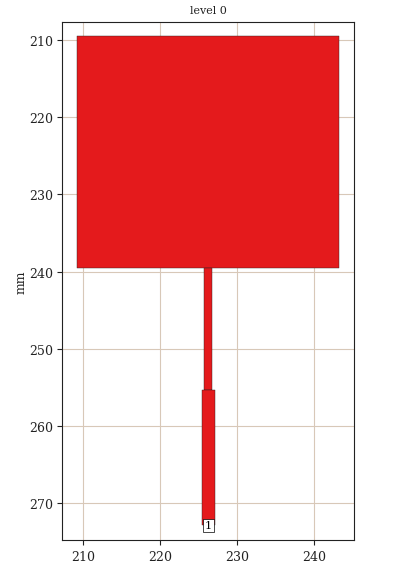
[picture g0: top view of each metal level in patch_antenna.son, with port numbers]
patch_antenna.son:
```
FTYP SONPROJ 12 ! Sonnet Project File
VER 14.53.lite
HEADER
DAT 02/19/2015 18:59:54
BUILT_BY_CREATED xgeom 14.53-Lite 02/14/2015 08:48:22
BUILT_BY_SAVED xgeom 14.53-Lite
MDATE 02/18/2015 04:10:13
HDATE 02/18/2015 04:10:13
END HEADER
DIM
FREQ GHZ
IND NH
LNG MM
ANG DEG
CON /OH
CAP PF
RES OH
END DIM
FREQ
SIMPLE 2.35 2.5 0.01
ABS 2.35 2.55 
END FREQ
CONTROL
ABS
OPTIONS  -dj 
SPEED 0
CACHE_ABS 1
TARG_ABS 300
Q_ACC N
END CONTROL
GEO
TMET "Free Space" 0 FREESPACE 376.7303136 0 0 0
BMET "Lossless" 0 SUP 0 0 0 0
MET "Copper" 1 NOR 58000000 0 0.035 
BOX 1 450 450 7200 7200 20 0
      62 1 1 0 0 0 0 "Air"
      0.813 4.1 1 0.02 0 0 0 "FR-4"
LORGN 225 225 U 
POR1 AGND
POLY 12 1
2
1 50 0 0 0 226.25 272.875 NONE 
NUM 3
0 5 0 N 10 1 1 100 100 0 0 0 Y
209.25 209.5
243.25 209.5
243.25 239.5
209.25 239.5
209.25 209.5
END
0 5 0 N 11 1 1 100 100 0 0 0 Y
225.75 239.5
226.75 239.5
226.75 255.375
225.75 255.375
225.75 239.5
END
0 5 0 N 12 1 1 100 100 0 0 0 Y
225.375 255.375
227.125 255.375
227.125 272.875
225.375 272.875
225.375 255.375
END
END GEO
OPT
MAX 100
VARS
END
END OPT
VARSWP
END VARSWP
QSG
IMPORT NO
EXTRA_METAL NO
UNITS YES
ALIGN NO
REF NO
VIEW_RES YES
METALS YES
USED NO
END QSG
```
